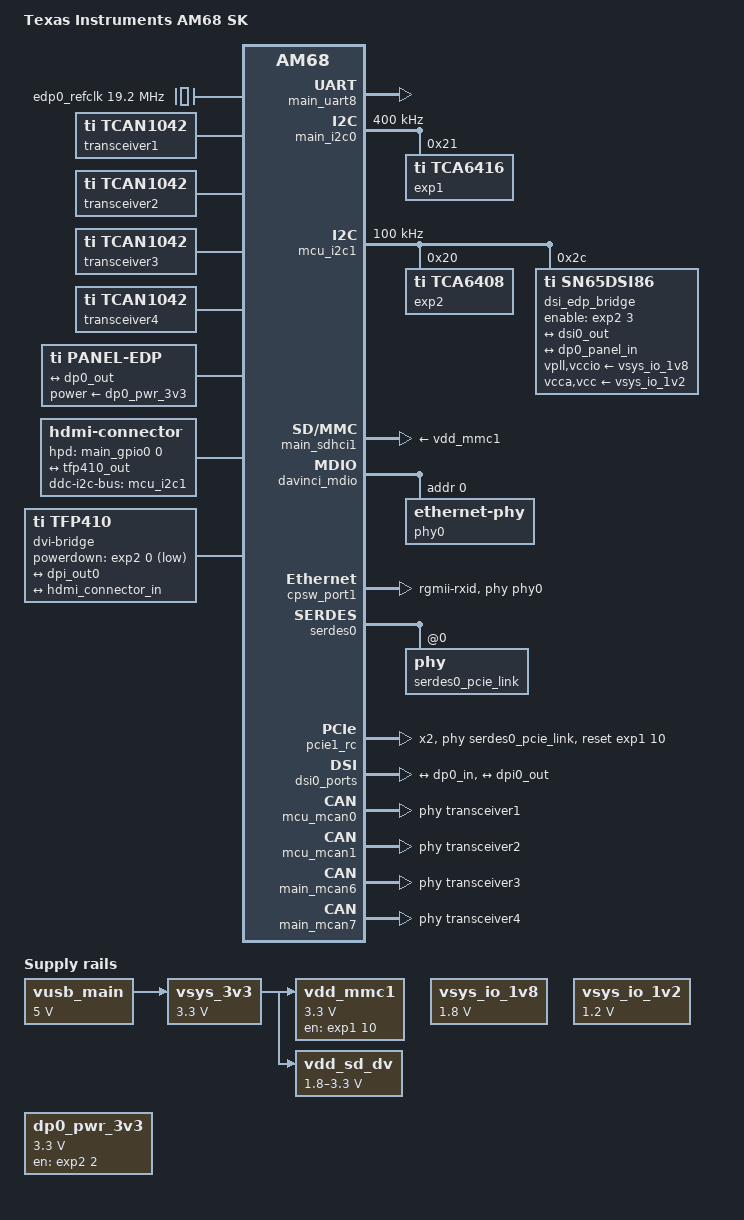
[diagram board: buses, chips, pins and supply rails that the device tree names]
// SPDX-License-Identifier: GPL-2.0
/*
 * Copyright (C) 2023 Texas Instruments Incorporated - https://www.ti.com/
 *
 * Base Board: https://www.ti.com/lit/zip/SPRR463
 */

/dts-v1/;

#include "k3-am68-sk-som.dtsi"
#include <dt-bindings/net/ti-dp83867.h>
#include <dt-bindings/phy/phy-cadence.h>
#include <dt-bindings/phy/phy.h>
#include <dt-bindings/mux/ti-serdes.h>

/ {
	compatible = "ti,am68-sk", "ti,j721s2";
	model = "Texas Instruments AM68 SK";

	chosen {
		stdout-path = "serial2:115200n8";
	};

	aliases {
		serial2 = &main_uart8;
		mmc1 = &main_sdhci1;
		can0 = &mcu_mcan0;
		can1 = &mcu_mcan1;
		can2 = &main_mcan6;
		can3 = &main_mcan7;
	};

	vusb_main: regulator-vusb-main5v0 {
		/* USB MAIN INPUT 5V DC */
		compatible = "regulator-fixed";
		regulator-name = "vusb-main5v0";
		regulator-min-microvolt = <5000000>;
		regulator-max-microvolt = <5000000>;
		regulator-always-on;
		regulator-boot-on;
	};

	vsys_3v3: regulator-vsys3v3 {
		/* Output of LM5141 */
		compatible = "regulator-fixed";
		regulator-name = "vsys_3v3";
		regulator-min-microvolt = <3300000>;
		regulator-max-microvolt = <3300000>;
		vin-supply = <&vusb_main>;
		regulator-always-on;
		regulator-boot-on;
	};

	vdd_mmc1: regulator-sd {
		/* Output of TPS22918 */
		compatible = "regulator-fixed";
		regulator-name = "vdd_mmc1";
		regulator-min-microvolt = <3300000>;
		regulator-max-microvolt = <3300000>;
		regulator-boot-on;
		enable-active-high;
		vin-supply = <&vsys_3v3>;
		gpio = <&exp1 10 GPIO_ACTIVE_HIGH>;
	};

	vdd_sd_dv: regulator-tlv71033 {
		/* Output of TLV71033 */
		compatible = "regulator-gpio";
		regulator-name = "tlv71033";
		pinctrl-names = "default";
		pinctrl-0 = <&vdd_sd_dv_pins_default>;
		regulator-min-microvolt = <1800000>;
		regulator-max-microvolt = <3300000>;
		regulator-boot-on;
		vin-supply = <&vsys_3v3>;
		gpios = <&main_gpio0 49 GPIO_ACTIVE_HIGH>;
		states = <1800000 0x0>,
			 <3300000 0x1>;
	};

	vsys_io_1v8: regulator-vsys-io-1v8 {
		compatible = "regulator-fixed";
		regulator-name = "vsys_io_1v8";
		regulator-min-microvolt = <1800000>;
		regulator-max-microvolt = <1800000>;
		regulator-always-on;
		regulator-boot-on;
	};

	vsys_io_1v2: regulator-vsys-io-1v2 {
		compatible = "regulator-fixed";
		regulator-name = "vsys_io_1v2";
		regulator-min-microvolt = <1200000>;
		regulator-max-microvolt = <1200000>;
		regulator-always-on;
		regulator-boot-on;
	};

	edp0_refclk: clock-edp0-refclk {
		#clock-cells = <0>;
		compatible = "fixed-clock";
		clock-frequency = <19200000>;
	};

	transceiver1: can-phy0 {
		compatible = "ti,tcan1042";
		#phy-cells = <0>;
		max-bitrate = <5000000>;
	};

	transceiver2: can-phy1 {
		compatible = "ti,tcan1042";
		#phy-cells = <0>;
		max-bitrate = <5000000>;
	};

	transceiver3: can-phy2 {
		compatible = "ti,tcan1042";
		#phy-cells = <0>;
		max-bitrate = <5000000>;
	};

	transceiver4: can-phy3 {
		compatible = "ti,tcan1042";
		#phy-cells = <0>;
		max-bitrate = <5000000>;
	};

	dp0_pwr_3v3: fixedregulator-dp0-pwr {
		compatible = "regulator-fixed";
		regulator-name = "dp0-pwr";
		regulator-min-microvolt = <3300000>;
		regulator-max-microvolt = <3300000>;
		pinctrl-names = "default";
		gpio = <&exp2 2 GPIO_ACTIVE_HIGH>;     /*P0 - DP0_3V3 _EN */
		enable-active-high;
	};

	panel {
		compatible = "ti,panel-edp";
		power-supply = <&dp0_pwr_3v3>;

		port {
			dp0_panel_in: endpoint {
				remote-endpoint = <&dp0_out>;
			};
		};
	};

	hdmi-connector {
		compatible = "hdmi-connector";
		label = "hdmi";
		type = "a";

		pinctrl-names = "default";
		pinctrl-0 = <&hdmi_hpd_pins_default>;

		ddc-i2c-bus = <&mcu_i2c1>;
		digital;

		/* HDMI_HPD */
		hpd-gpios = <&main_gpio0 0 GPIO_ACTIVE_HIGH>;

		port {
			hdmi_connector_in: endpoint {
				remote-endpoint = <&tfp410_out>;
			};
		};
	};

	dvi-bridge {
		#address-cells = <1>;
		#size-cells = <0>;
		compatible = "ti,tfp410";

		/* HDMI_PDn */
		powerdown-gpios = <&exp2 0 GPIO_ACTIVE_LOW>;

		port@0 {
			reg = <0>;

			tfp410_in: endpoint {
				remote-endpoint = <&dpi_out0>;
				pclk-sample = <1>;
			};
		};

		port@1 {
			reg = <1>;

			tfp410_out: endpoint {
				remote-endpoint = <&hdmi_connector_in>;
			};
		};
	};
};

&main_pmx0 {
	main_uart8_pins_default: main-uart8-pins-default {
		pinctrl-single,pins = <
			J721S2_IOPAD(0x0d0, PIN_INPUT, 11) /* (AF26) SPI0_CS1.UART8_RXD */
			J721S2_IOPAD(0x0d4, PIN_OUTPUT, 11) /* (AH27) SPI0_CLK.UART8_TXD */
		>;
	};

	main_i2c0_pins_default: main-i2c0-pins-default {
		pinctrl-single,pins = <
			J721S2_IOPAD(0x0e0, PIN_INPUT, 0) /* (AH25) I2C0_SCL */
			J721S2_IOPAD(0x0e4, PIN_INPUT, 0) /* (AE24) I2C0_SDA */
		>;
	};

	main_mmc1_pins_default: main-mmc1-pins-default {
		pinctrl-single,pins = <
			J721S2_IOPAD(0x104, PIN_INPUT, 0) /* (P23) MMC1_CLK */
			J721S2_IOPAD(0x108, PIN_INPUT, 0) /* (N24) MMC1_CMD */
			J721S2_IOPAD(0x0fc, PIN_INPUT, 0) /* (M23) MMC1_DAT0 */
			J721S2_IOPAD(0x0f8, PIN_INPUT, 0) /* (P24) MMC1_DAT1 */
			J721S2_IOPAD(0x0f4, PIN_INPUT, 0) /* (R24) MMC1_DAT2 */
			J721S2_IOPAD(0x0f0, PIN_INPUT, 0) /* (R22) MMC1_DAT3 */
			J721S2_IOPAD(0x0e8, PIN_INPUT, 8) /* (AE25) TIMER_IO0.MMC1_SDCD */
		>;
	};

	vdd_sd_dv_pins_default: vdd-sd-dv-pins-default {
		pinctrl-single,pins = <
			J721S2_IOPAD(0x0c4, PIN_INPUT, 7) /* (AB26) ECAP0_IN_APWM_OUT.GPIO0_49 */
		>;
	};

	main_usbss0_pins_default: main-usbss0-pins-default {
		pinctrl-single,pins = <
			J721S2_IOPAD(0x0ec, PIN_OUTPUT, 6) /* (AG25) TIMER_IO1.USB0_DRVVBUS */
		>;
	};

	main_mcan6_pins_default: main-mcan6-pins-default {
		pinctrl-single,pins = <
			J721S2_IOPAD(0x098, PIN_INPUT, 0) /* (V25) MCASP0_AXR10.MCAN6_RX */
			J721S2_IOPAD(0x094, PIN_INPUT, 0) /* (AA25) MCASP0_AXR9.MCAN6_TX */
		>;
	};

	main_mcan7_pins_default: main-mcan7-pins-default {
		pinctrl-single,pins = <
			J721S2_IOPAD(0x0a0, PIN_INPUT, 0) /* (AB25) MCASP0_AXR12.MCAN7_RX */
			J721S2_IOPAD(0x09c, PIN_INPUT, 0) /* (T24) MCASP0_AXR11.MCAN7_TX */
		>;
	};

	dss_vout0_pins_default: dss-vout0-pins-default {
		pinctrl-single,pins = <
			J721S2_IOPAD(0x074, PIN_OUTPUT, 2) /* (R28) MCAN2_TX.VOUT0_DATA0 */
			J721S2_IOPAD(0x070, PIN_OUTPUT, 2) /* (R27) MCAN1_RX.VOUT0_DATA1 */
			J721S2_IOPAD(0x04c, PIN_OUTPUT, 2) /* (V27) MCASP1_AXR1.VOUT0_DATA10 */
			J721S2_IOPAD(0x048, PIN_OUTPUT, 2) /* (AB27) MCASP0_AXR2.VOUT0_DATA11 */
			J721S2_IOPAD(0x044, PIN_OUTPUT, 2) /* (Y26) MCASP0_AXR1.VOUT0_DATA12 */
			J721S2_IOPAD(0x040, PIN_OUTPUT, 2) /* (AC28) MCASP0_AXR0.VOUT0_DATA13 */
			J721S2_IOPAD(0x03c, PIN_OUTPUT, 2) /* (U27) MCASP0_AFSX.VOUT0_DATA14 */
			J721S2_IOPAD(0x038, PIN_OUTPUT, 2) /* (AB28) MCASP0_ACLKX.VOUT0_DATA15 */
			J721S2_IOPAD(0x0c8, PIN_OUTPUT, 2) /* (AD28) EXT_REFCLK1.VOUT0_DATA16 */
			J721S2_IOPAD(0x030, PIN_OUTPUT, 2) /* (T26) GPIO0_12.VOUT0_DATA17 */
			J721S2_IOPAD(0x02c, PIN_OUTPUT, 2) /* (V23) GPIO0_11.VOUT0_DATA18 */
			J721S2_IOPAD(0x028, PIN_OUTPUT, 2) /* (AB24) MCAN16_RX.VOUT0_DATA19 */
			J721S2_IOPAD(0x07c, PIN_OUTPUT, 2) /* (T27) MCASP0_AXR3.VOUT0_DATA2 */
			J721S2_IOPAD(0x024, PIN_OUTPUT, 2) /* (Y28) MCAN16_TX.VOUT0_DATA20 */
			J721S2_IOPAD(0x020, PIN_OUTPUT, 2) /* (AA23) MCAN15_RX.VOUT0_DATA21 */
			J721S2_IOPAD(0x01c, PIN_OUTPUT, 2) /* (Y24) MCAN15_TX.VOUT0_DATA22 */
			J721S2_IOPAD(0x018, PIN_OUTPUT, 2) /* (W23) MCAN14_RX.VOUT0_DATA23 */
			J721S2_IOPAD(0x068, PIN_OUTPUT, 2) /* (U28) MCAN0_RX.VOUT0_DATA3 */
			J721S2_IOPAD(0x064, PIN_OUTPUT, 2) /* (W28) MCAN0_TX.VOUT0_DATA4 */
			J721S2_IOPAD(0x060, PIN_OUTPUT, 2) /* (AC27) MCASP2_AXR1.VOUT0_DATA5 */
			J721S2_IOPAD(0x05c, PIN_OUTPUT, 2) /* (AA26) MCASP2_AXR0.VOUT0_DATA6 */
			J721S2_IOPAD(0x058, PIN_OUTPUT, 2) /* (AA27) MCASP2_AFSX.VOUT0_DATA7 */
			J721S2_IOPAD(0x054, PIN_OUTPUT, 2) /* (Y27) MCASP2_ACLKX.VOUT0_DATA8 */
			J721S2_IOPAD(0x050, PIN_OUTPUT, 2) /* (W27) MCASP1_AXR2.VOUT0_DATA9 */
			J721S2_IOPAD(0x084, PIN_OUTPUT, 2) /* (AA28) MCASP0_AXR5.VOUT0_DE */
			J721S2_IOPAD(0x080, PIN_OUTPUT, 2) /* (U26) MCASP0_AXR4.VOUT0_HSYNC */
			J721S2_IOPAD(0x078, PIN_OUTPUT, 2) /* (Y25) MCAN2_RX.VOUT0_PCLK */
			J721S2_IOPAD(0x088, PIN_OUTPUT, 2) /* (AD27) MCASP0_AXR6.VOUT0_VP0_VSYNC */
		>;
	};

	hdmi_hpd_pins_default: hdmi-hpd-pins-default {
		pinctrl-single,pins = <
			J721S2_IOPAD(0x000, PIN_INPUT, 7) /* (AG24) EXTINTN.GPIO0_0  */
		>;
	};
};

&wkup_pmx0 {
	mcu_cpsw_pins_default: mcu-cpsw-pins-default {
		pinctrl-single,pins = <
			J721S2_WKUP_IOPAD(0x094, PIN_INPUT, 0) /* (B22) MCU_RGMII1_RD0 */
			J721S2_WKUP_IOPAD(0x090, PIN_INPUT, 0) /* (B21) MCU_RGMII1_RD1 */
			J721S2_WKUP_IOPAD(0x08c, PIN_INPUT, 0) /* (C22) MCU_RGMII1_RD2 */
			J721S2_WKUP_IOPAD(0x088, PIN_INPUT, 0) /* (D23) MCU_RGMII1_RD3 */
			J721S2_WKUP_IOPAD(0x084, PIN_INPUT, 0) /* (D22) MCU_RGMII1_RXC */
			J721S2_WKUP_IOPAD(0x06c, PIN_INPUT, 0) /* (E23) MCU_RGMII1_RX_CTL */
			J721S2_WKUP_IOPAD(0x07c, PIN_OUTPUT, 0) /* (F23) MCU_RGMII1_TD0 */
			J721S2_WKUP_IOPAD(0x078, PIN_OUTPUT, 0) /* (G22) MCU_RGMII1_TD1 */
			J721S2_WKUP_IOPAD(0x074, PIN_OUTPUT, 0) /* (E21) MCU_RGMII1_TD2 */
			J721S2_WKUP_IOPAD(0x070, PIN_OUTPUT, 0) /* (E22) MCU_RGMII1_TD3 */
			J721S2_WKUP_IOPAD(0x080, PIN_OUTPUT, 0) /* (F21) MCU_RGMII1_TXC */
			J721S2_WKUP_IOPAD(0x068, PIN_OUTPUT, 0) /* (F22) MCU_RGMII1_TX_CTL */
		>;
	};

	mcu_mdio_pins_default: mcu-mdio-pins-default {
		pinctrl-single,pins = <
			J721S2_WKUP_IOPAD(0x09c, PIN_OUTPUT, 0) /* (A21) MCU_MDIO0_MDC */
			J721S2_WKUP_IOPAD(0x098, PIN_INPUT, 0) /* (A22) MCU_MDIO0_MDIO */
		>;
	};

	mcu_mcan0_pins_default: mcu-mcan0-pins-default {
		pinctrl-single,pins = <
			J721S2_WKUP_IOPAD(0x0bc, PIN_INPUT, 0) /* (E28) MCU_MCAN0_RX */
			J721S2_WKUP_IOPAD(0x0b8, PIN_OUTPUT, 0) /* (E27) MCU_MCAN0_TX */
		>;
	};

	mcu_mcan1_pins_default: mcu-mcan1-pins-default {
		pinctrl-single,pins = <
			J721S2_WKUP_IOPAD(0x0d4, PIN_INPUT, 0) /* (F26) WKUP_GPIO0_5.MCU_MCAN1_RX */
			J721S2_WKUP_IOPAD(0x0d0, PIN_OUTPUT, 0) /* (C23) WKUP_GPIO0_4.MCU_MCAN1_TX*/
		>;
	};

	mcu_i2c1_pins_default: mcu-i2c1-pins-default {
		pinctrl-single,pins = <
			J721S2_WKUP_IOPAD(0x0e0, PIN_INPUT, 0) /* (F24) WKUP_GPIO0_8.MCU_I2C1_SCL */
			J721S2_WKUP_IOPAD(0x0e4, PIN_INPUT, 0) /* (H26) WKUP_GPIO0_9.MCU_I2C1_SDA */
		>;
	};
};

&main_gpio2 {
	status = "disabled";
};

&main_gpio4 {
	status = "disabled";
};

&main_gpio6 {
	status = "disabled";
};

&wkup_gpio0 {
	status = "disabled";
};

&wkup_gpio1 {
	status = "disabled";
};

&wkup_uart0 {
	status = "reserved";
};

&main_uart8 {
	status = "okay";
	pinctrl-names = "default";
	pinctrl-0 = <&main_uart8_pins_default>;
	/* Shared with TFA on this platform */
	power-domains = <&k3_pds 357 TI_SCI_PD_SHARED>;
};

&main_i2c0 {
	pinctrl-names = "default";
	pinctrl-0 = <&main_i2c0_pins_default>;
	clock-frequency = <400000>;

	exp1: gpio@21 {
		compatible = "ti,tca6416";
		reg = <0x21>;
		gpio-controller;
		#gpio-cells = <2>;
		gpio-line-names = " ", " ", " ", " ", " ",
				  "BOARDID_EEPROM_WP", "CAN_STB", " ",
				  "GPIO_uSD_PWR_EN", " ", "IO_EXP_PCIe1_M.2_RTSz",
				  "IO_EXP_MCU_RGMII_RST#", " ", " ", " ", " ";
	};
};

&mcu_i2c1 {
	pinctrl-names = "default";
	pinctrl-0 = <&mcu_i2c1_pins_default>;
	/* i2c1 is used for DVI DDC, so we need to use 100kHz */
	clock-frequency = <100000>;

	exp2: gpio@20 {
		compatible = "ti,tca6408";
		reg = <0x20>;
		gpio-controller;
		#gpio-cells = <2>;
		gpio-line-names = "HDMI_PDn","HDMI_LS_OE",
				"DP0_3V3_EN","eDP_ENABLE";
	};

	dsi_edp_bridge: dsi-edp-bridge@2c {
		compatible = "ti,sn65dsi86";
		reg = <0x2c>;

		clock-names = "refclk";
		clocks = <&edp0_refclk>;

		enable-gpios = <&exp2 3 GPIO_ACTIVE_HIGH>;

		vpll-supply = <&vsys_io_1v8>;
		vccio-supply = <&vsys_io_1v8>;
		vcca-supply = <&vsys_io_1v2>;
		vcc-supply = <&vsys_io_1v2>;

		dsi_edp_bridge_ports: ports {
			#address-cells = <1>;
			#size-cells = <0>;
			port@0 {
				reg = <0>;
				dp0_in: endpoint {
					remote-endpoint = <&dsi0_out>;
				};
			};

			port@1 {
				reg = <1>;
				dp0_out: endpoint {
					remote-endpoint = <&dp0_panel_in>;
				};
			};
		};
	};
};

&main_sdhci0 {
	/* Unused */
	status = "disabled";
};

&main_sdhci1 {
	/* SD card */
	pinctrl-0 = <&main_mmc1_pins_default>;
	pinctrl-names = "default";
	disable-wp;
	vmmc-supply = <&vdd_mmc1>;
	vqmmc-supply = <&vdd_sd_dv>;
};

&mcu_cpsw {
	pinctrl-names = "default";
	pinctrl-0 = <&mcu_cpsw_pins_default &mcu_mdio_pins_default>;
};

&davinci_mdio {
	phy0: ethernet-phy@0 {
		reg = <0>;
		ti,rx-internal-delay = <DP83867_RGMIIDCTL_2_00_NS>;
		ti,fifo-depth = <DP83867_PHYCR_FIFO_DEPTH_4_B_NIB>;
		ti,min-output-impedance;
	};
};

&cpsw_port1 {
	phy-mode = "rgmii-rxid";
	phy-handle = <&phy0>;
};

&serdes_ln_ctrl {
	idle-states = <J721S2_SERDES0_LANE0_PCIE1_LANE0>, <J721S2_SERDES0_LANE1_PCIE1_LANE1>,
		      <J721S2_SERDES0_LANE2_USB_SWAP>, <J721S2_SERDES0_LANE3_USB>;
};

&serdes_refclk {
	clock-frequency = <100000000>;
};

&serdes0 {
	status = "okay";

	serdes0_pcie_link: phy@0 {
		reg = <0>;
		cdns,num-lanes = <2>;
		#phy-cells = <0>;
		cdns,phy-type = <PHY_TYPE_PCIE>;
		resets = <&serdes_wiz0 1>, <&serdes_wiz0 2>;
	};
};

&pcie1_rc {
	reset-gpios = <&exp1 10 GPIO_ACTIVE_HIGH>;
	phys = <&serdes0_pcie_link>;
	phy-names = "pcie-phy";
	num-lanes = <2>;
};

&dss {

	pinctrl-names = "default";
	pinctrl-0 = <&dss_vout0_pins_default>;

	/*
	 * These clock assignments are chosen to enable the following outputs:
	 *
	 * VP1 - DPI0
	 */
	assigned-clocks = <&k3_clks 158 5>;
	assigned-clock-parents = <&k3_clks 158 7>;
};

&dss_ports {
	#address-cells = <1>;
	#size-cells = <0>;

	port@2 {
		reg = <2>;
		dpi0_out: endpoint {
			remote-endpoint = <&dsi0_in>;
		};
	};

	/* HDMI */
	port@1 {
		reg = <1>;

		dpi_out0: endpoint {
			remote-endpoint = <&tfp410_in>;
		};
	};
};

&dsi0_ports {

	port@0 {
		reg = <0>;
		dsi0_out: endpoint {
			remote-endpoint = <&dp0_in>;
		};
	};

	port@1 {
		reg = <1>;
		dsi0_in: endpoint {
			remote-endpoint = <&dpi0_out>;
		};
	};
};

&mhdp {
	cdns,no-hpd;
};

&mcu_mcan0 {
	status = "okay";
	pinctrl-names = "default";
	pinctrl-0 = <&mcu_mcan0_pins_default>;
	phys = <&transceiver1>;
};

&mcu_mcan1 {
	status = "okay";
	pinctrl-names = "default";
	pinctrl-0 = <&mcu_mcan1_pins_default>;
	phys = <&transceiver2>;
};

&main_mcan6 {
	status = "okay";
	pinctrl-names = "default";
	pinctrl-0 = <&main_mcan6_pins_default>;
	phys = <&transceiver3>;
};

&main_mcan7 {
	status = "okay";
	pinctrl-names = "default";
	pinctrl-0 = <&main_mcan7_pins_default>;
	phys = <&transceiver4>;
};
